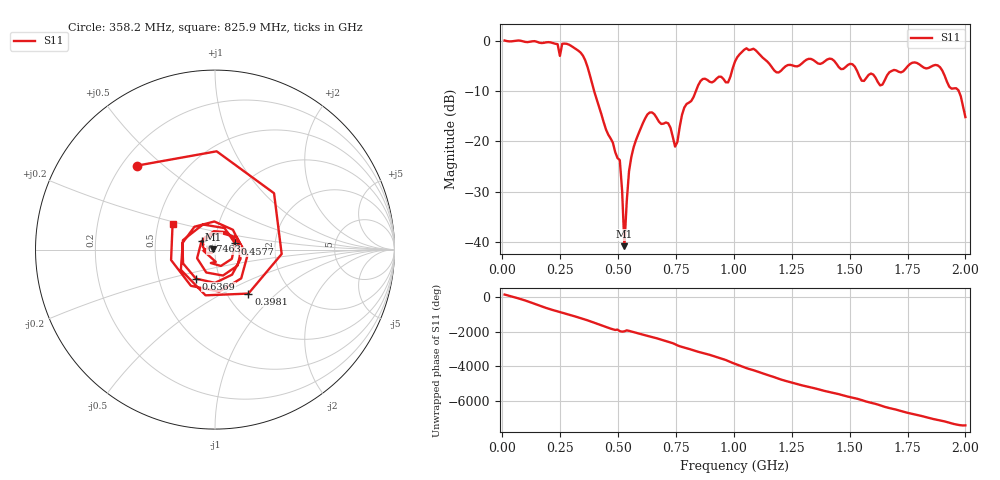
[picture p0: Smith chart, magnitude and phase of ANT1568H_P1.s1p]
!Created with skrf (http://scikit-rf.org).
# Hz S RI R 50.0
!freq ReS11 ImS11
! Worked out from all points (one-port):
!   201 points, 10 MHz to 2 GHz, reference 50 ohm
!   lowest |S11| = -40.8 dB at 527.4 MHz (marker M1), VSWR 1.02, Z = 49.1 + j0.09 ohm
!   |S11| at or under -10 dB: 396.6 MHz to 836.1 MHz (439.5 MHz wide, 71.3 % of centre); 1.971 GHz to end of sweep
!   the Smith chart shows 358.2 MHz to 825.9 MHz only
!   S11 on the Smith chart (normalised r, x): 358.2 MHz: 0.26, +0.41; 398.1 MHz: 1.25, -0.68; 457.8 MHz: 1.25, +0.09; 636.9 MHz: 0.77, -0.26; 746.3 MHz: 0.86, +0.08; 825.9 MHz: 0.60, +0.18
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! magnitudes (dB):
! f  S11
! 10 MHz  0.0
! 258.8 MHz  -0.6
! 358.2 MHz  -3.9
! 398.1 MHz  -10.2
! 457.8 MHz  -18.7
! 507.5 MHz  -23.7
! 517.5 MHz  -29.8
! 527.4 MHz  -40.8
! 547.3 MHz  -25.9
! 557.2 MHz  -23.1
! 636.9 MHz  -14.3
! 716.5 MHz  -16.4
! 746.3 MHz  -21.0
! 756.2 MHz  -20.1
! 786.1 MHz  -13.3
! 825.9 MHz  -11.2
! 865.7 MHz  -7.6
! 975.1 MHz  -8.3
! 1.005 GHz  -4.1
! 1.085 GHz  -1.6
! 1.184 GHz  -6.3
! 1.254 GHz  -4.9
! 1.502 GHz  -4.6
! 1.632 GHz  -8.9
! 1.751 GHz  -5.1
! 1.891 GHz  -5.3
! 1.97 GHz  -9.9
! 2 GHz  -15.2
